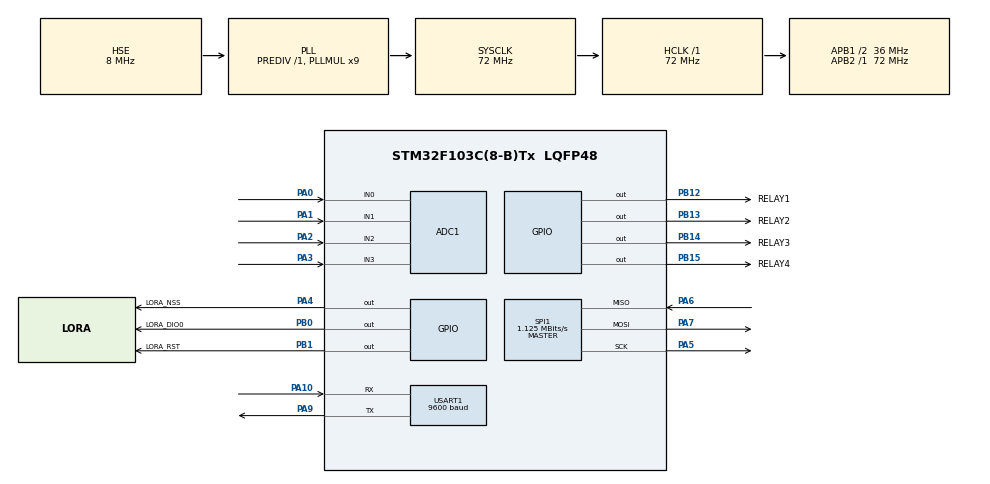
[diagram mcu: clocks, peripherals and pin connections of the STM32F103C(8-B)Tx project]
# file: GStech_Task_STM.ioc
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ADC1.Channel-0\#ChannelRegularConversion=ADC_CHANNEL_0
ADC1.NbrOfConversionFlag=1
ADC1.Rank-0\#ChannelRegularConversion=1
ADC1.SamplingTime-0\#ChannelRegularConversion=ADC_SAMPLETIME_1CYCLE_5
ADC1.master=1
Mcu.Family=STM32F1
Mcu.Name=STM32F103C(8-B)Tx
Mcu.Package=LQFP48
NVIC.PriorityGroup=NVIC_PRIORITYGROUP_4
PA0-WKUP.Signal=ADCx_IN0
PA1.Signal=ADCx_IN1
PA10.Mode=Asynchronous
PA10.Signal=USART1_RX
PA13.Mode=Serial_Wire
PA13.Signal=SYS_JTMS-SWDIO
PA14.Mode=Serial_Wire
PA14.Signal=SYS_JTCK-SWCLK
PA2.Signal=ADCx_IN2
PA3.Signal=ADCx_IN3
PA4.GPIO_Label=LORA_NSS
PA4.Signal=GPIO_Output
PA5.Mode=Full_Duplex_Master
PA5.Signal=SPI1_SCK
PA6.Mode=Full_Duplex_Master
PA6.Signal=SPI1_MISO
PA7.Mode=Full_Duplex_Master
PA7.Signal=SPI1_MOSI
PA9.Mode=Asynchronous
PA9.Signal=USART1_TX
PB0.GPIO_Label=LORA_DIO0
PB0.Signal=GPIO_Output
PB1.GPIO_Label=LORA_RST
PB1.Signal=GPIO_Output
PB12.GPIO_Label=RELAY1
PB12.Signal=GPIO_Output
PB13.GPIO_Label=RELAY2
PB13.Signal=GPIO_Output
PB14.GPIO_Label=RELAY3
PB14.Signal=GPIO_Output
PB15.GPIO_Label=RELAY4
PB15.Signal=GPIO_Output
PD0-OSC_IN.Mode=HSE-External-Oscillator
PD0-OSC_IN.Signal=RCC_OSC_IN
PD1-OSC_OUT.Mode=HSE-External-Oscillator
PD1-OSC_OUT.Signal=RCC_OSC_OUT
ProjectManager.HeapSize=0x200
ProjectManager.StackSize=0x400
ProjectManager.TargetToolchain=STM32CubeIDE
RCC.ADCPresc=RCC_ADCPCLK2_DIV6
RCC.AHBFreq_Value=72000000
RCC.APB1CLKDivider=RCC_HCLK_DIV2
RCC.APB1Freq_Value=36000000
RCC.APB1TimFreq_Value=72000000
RCC.APB2Freq_Value=72000000
RCC.APB2TimFreq_Value=72000000
RCC.HCLKFreq_Value=72000000
RCC.PLLMUL=RCC_PLL_MUL9
RCC.PLLSourceVirtual=RCC_PLLSOURCE_HSE
RCC.SYSCLKFreq_VALUE=72000000
RCC.SYSCLKSource=RCC_SYSCLKSOURCE_PLLCLK
RCC.USBFreq_Value=72000000
SH.ADCx_IN0.0=ADC1_IN0,IN0
SH.ADCx_IN1.0=ADC1_IN1,IN1
SH.ADCx_IN2.0=ADC1_IN2,IN2
SH.ADCx_IN3.0=ADC1_IN3,IN3
SPI1.BaudRatePrescaler=SPI_BAUDRATEPRESCALER_64
SPI1.CalculateBaudRate=1.125 MBits/s
SPI1.Direction=SPI_DIRECTION_2LINES
SPI1.Mode=SPI_MODE_MASTER
SPI1.VirtualType=VM_MASTER
USART1.BaudRate=9600
USART1.VirtualMode=VM_ASYNC
board=custom

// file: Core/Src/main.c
/* USER CODE BEGIN Header */
/**
  ******************************************************************************
  * @file           : main.c
  * @brief          : Main program body
  ******************************************************************************
  * @attention
  *
  * Copyright (c) 2026 STMicroelectronics.
  * All rights reserved.
  *
  * This software is licensed under terms that can be found in the LICENSE file
  * in the root directory of this software component.
  * If no LICENSE file comes with this software, it is provided AS-IS.
  *
  ******************************************************************************
  */
/* USER CODE END Header */
#include "main.h"

/* USER CODE BEGIN Includes */
#include <stdio.h>
#include <string.h>
#include <math.h>

// Import the specific library you downloaded
#include "SX1278.h"
/* USER CODE END Includes */

/* USER CODE BEGIN PTD */
// Structure to hold data for one appliance
typedef struct {
    uint32_t adcChannel;       // ADC Channel (ADC_CHANNEL_0, etc.)
    GPIO_TypeDef* relayPort;   // GPIO Port for Relay
    uint16_t relayPin;         // GPIO Pin for Relay
    double current;            // RMS Current (Amps)
    double power;              // Power (Watts)
    double totalEnergyWs;      // Total Energy (Watt-Seconds/Joules)
} Appliance_t;
/* USER CODE END PTD */

ADC_HandleTypeDef hadc1;

SPI_HandleTypeDef hspi1;

UART_HandleTypeDef huart1;

/* USER CODE BEGIN PV */
// --- Calibration & Config ---
const float calibrationFactor = 60.6; // For 33ohm burden resistor + SCT-013-100
const float supplyVoltage = 230.0;    // Fixed AC Voltage (Replace with sensor later if needed)
const int adcResolution = 4096;
const int offset = 2048;              // 1.65V DC Offset center point

// --- Runtime Variables ---
Appliance_t appliances[4];            // Array for 4 appliances
int currentTxIndex = 0;               // Tracks which appliance is sending data (0-3)
uint32_t lastTxTime = 0;              // Timer for LoRa loop
uint32_t lastEnergyTime = 0;          // Timer for Energy integration

// --- LoRa Variables ---
SX1278_hw_t loraHW;                   // Hardware struct (pins)
SX1278_t lora;                        // Logic struct (state)
char msgBuffer[100];                  // Buffer for UART logging
/* USER CODE END PV */

void SystemClock_Config(void);
static void MX_GPIO_Init(void);
static void MX_ADC1_Init(void);
static void MX_SPI1_Init(void);
static void MX_USART1_UART_Init(void);
/* USER CODE BEGIN PFP */
void Init_Appliances(void);
void ADC_Select_Channel(uint32_t channel);
double Calculate_RMS(uint32_t channel, int samples);
void Handle_LoRa_Command(char* cmd);
/* USER CODE END PFP */

/* USER CODE BEGIN 0 */

// 1. Initialize the Appliance Structs with correct Pins/Channels
void Init_Appliances(void) {
    // Appliance 1: PA0 (ADC) & PB12 (Relay)
    appliances[0].adcChannel = ADC_CHANNEL_0;
    appliances[0].relayPort = GPIOB;
    appliances[0].relayPin = GPIO_PIN_12;

    // Appliance 2: PA1 (ADC) & PB13 (Relay)
    appliances[1].adcChannel = ADC_CHANNEL_1;
    appliances[1].relayPort = GPIOB;
    appliances[1].relayPin = GPIO_PIN_13;

    // Appliance 3: PA2 (ADC) & PB14 (Relay)
    appliances[2].adcChannel = ADC_CHANNEL_2;
    appliances[2].relayPort = GPIOB;
    appliances[2].relayPin = GPIO_PIN_14;

    // Appliance 4: PA3 (ADC) & PB15 (Relay)
    appliances[3].adcChannel = ADC_CHANNEL_3;
    appliances[3].relayPort = GPIOB;
    appliances[3].relayPin = GPIO_PIN_15;
}

// 2. Helper to switch the ADC MUX
void ADC_Select_Channel(uint32_t channel) {
    ADC_ChannelConfTypeDef sConfig = {0};
    sConfig.Channel = channel;
    sConfig.Rank = ADC_REGULAR_RANK_1;
    sConfig.SamplingTime = ADC_SAMPLETIME_1CYCLE_5;
    HAL_ADC_ConfigChannel(&hadc1, &sConfig);
}

// 3. RMS Calculation Logic
double Calculate_RMS(uint32_t channel, int samples) {
    ADC_Select_Channel(channel);

    long sumSquared = 0;
    for (int i = 0; i < samples; i++) {
        HAL_ADC_Start(&hadc1);
        HAL_ADC_PollForConversion(&hadc1, 10);
        int signal = HAL_ADC_GetValue(&hadc1);

        long filtered = signal - offset;

        // Zero-Cross Noise Gate: Ignore tiny fluctuations near zero
        if (filtered > -5 && filtered < 5) filtered = 0;

        sumSquared += (filtered * filtered);

        // Short delay to spread samples over the AC wave
        // 50 loops is roughly 10-20us depending on clock
        for(int k=0; k<50; k++) __NOP();
    }

    double meanSquare = (double)sumSquared / samples;
    double rmsADC = sqrt(meanSquare);
    double rmsVolts = rmsADC * (3.3 / (float)adcResolution); // Assuming 3.3V VREF
    double amps = rmsVolts * calibrationFactor;

    // Low current cutoff (software noise floor)
    if (amps < 0.15) return 0.0;

    return amps;
}
/* USER CODE END 0 */

int main(void)
{

  /* MCU Configuration--------------------------------------------------------*/

  /* Reset of all peripherals, Initializes the Flash interface and the Systick. */
  HAL_Init();

  /* Configure the system clock */
  SystemClock_Config();

  /* Initialize all configured peripherals */
  MX_GPIO_Init();
  MX_ADC1_Init();
  MX_SPI1_Init();
  MX_USART1_UART_Init();
  /* USER CODE BEGIN 2 */

  // A. Initialize Appliance Structs
  Init_Appliances();
  lastEnergyTime = HAL_GetTick();
  lastTxTime = HAL_GetTick();

  // B. Initialize LoRa Hardware Struct (Connecting Pins to Driver)
  loraHW.dio0.port = LORA_DIO0_GPIO_Port;
  loraHW.dio0.pin = LORA_DIO0_Pin;
  loraHW.nss.port = LORA_NSS_GPIO_Port;
  loraHW.nss.pin = LORA_NSS_Pin;
  loraHW.reset.port = LORA_RST_GPIO_Port;
  loraHW.reset.pin = LORA_RST_Pin;
  loraHW.spi = &hspi1; // Link the SPI Handle

  // C. Link HW to Logic
  lora.hw = &loraHW;

  // D. Start LoRa
  // Freq: 433MHz, Power: 17dBm, SF: 7, BW: 125kHz
  SX1278_init(&lora, 433000000, SX1278_POWER_17DBM, SX1278_LORA_SF_7,
              SX1278_LORA_BW_125KHZ, SX1278_LORA_CR_4_5, SX1278_LORA_CRC_EN, 10);

  // Enter Receive Mode immediately to listen for commands
  SX1278_LoRaEntryRx(&lora, 16, 2000);

  HAL_UART_Transmit(&huart1, (uint8_t*)"System Started\r\n", 16, 100);

  /* USER CODE END 2 */

  /* Infinite loop */
  /* USER CODE BEGIN WHILE */
  while (1)
  {
    // --- TASK 1: Energy Measurement (Runs Continuously) ---
	  // --- COMBINED TASK: Measure & Transmit (Every 250ms) ---
	      // 250ms * 4 Devices = 1 Second total cycle time
	      if (HAL_GetTick() - lastTxTime >= 250) {
	          lastTxTime = HAL_GetTick();

	          // 1. Point to the specific appliance we are updating NOW
	          Appliance_t *app = &appliances[currentTxIndex];

	          // 2. Measure RMS only for this device (Saves huge amount of simulation CPU)
	          // We assume 0.25s has passed since last check for energy math
	          app->current = Calculate_RMS(app->adcChannel, 50);
	          app->power = app->current * supplyVoltage;
	          app->totalEnergyWs += (app->power * 0.25);

	          double energyKWh = app->totalEnergyWs / 3600000.0;

	          // 3. Manual Float Conversion (Fixes the "Empty Value" bug)
	          // Split Current (I)
	          int iInt = (int)app->current;
	          int iDec = (int)((app->current - iInt) * 100);

	          // Split Power (P)
	          int pInt = (int)app->power;
	          int pDec = (int)((app->power - pInt) * 10);

	          // Split Energy (E)
	          int eInt = (int)energyKWh;
	          int eDec = (int)((energyKWh - eInt) * 10000);

	          // 4. Format Packet (Using %d instead of %f)
	          char loraPacket[64];
	          sprintf(loraPacket, "ID:%d,V:%d,I:%d.%02d,P:%d.%d,E:%d.%04d",
	                  currentTxIndex + 1,
	                  (int)supplyVoltage,
	                  iInt, iDec,
	                  pInt, pDec,
	                  eInt, eDec);

	          // 5. Send Packet
	          SX1278_LoRaEntryTx(&lora, 16, 2000);
	          SX1278_LoRaTxPacket(&lora, (uint8_t*)loraPacket, strlen(loraPacket), 2000);

	          // 6. Debug Print to Serial
	          char debugBuf[100];
	          sprintf(debugBuf, "[TX] %s\r\n", loraPacket);
	          HAL_UART_Transmit(&huart1, (uint8_t*)debugBuf, strlen(debugBuf), 100);

	          // 7. Go back to RX Mode & Increment Index
	          SX1278_LoRaEntryRx(&lora, 16, 2000);
	          currentTxIndex++;
	          if(currentTxIndex > 3) currentTxIndex = 0;
	      }

    // --- TASK 3: LoRa Reception (Poll DIO0) ---
    // If DIO0 is High, a packet has arrived
    if (HAL_GPIO_ReadPin(LORA_DIO0_GPIO_Port, LORA_DIO0_Pin) == GPIO_PIN_SET) {
        int len = SX1278_LoRaRxPacket(&lora);
        if (len > 0) {

        	char *rxData = (char*)lora.rxBuffer;
			rxData[len] = 0; // Ensure Null termination for string safety

			// Print Received Command
			char debugBuf[300];
			sprintf(debugBuf, "[RX CMD] %s\r\n", rxData);
			HAL_UART_Transmit(&huart1, (uint8_t*)debugBuf, strlen(debugBuf), 100);

			// Process Command
			Handle_LoRa_Command(rxData);
        }
    }
    /* USER CODE END WHILE */

  }
}

// --- LoRa Command Parser ---
// Expects: "R1:0" (Relay 1 OFF), "R2:1" (Relay 2 ON)
void Handle_LoRa_Command(char* cmd) {
    int relayID, state;
    // Scan string for pattern "R<number>:<number>"
    if (sscanf(cmd, "R%d:%d", &relayID, &state) == 2) {
        if (relayID >= 1 && relayID <= 4) {
            Appliance_t *target = &appliances[relayID - 1];

            // Logic: 1 = ON (Reset Pin), 0 = OFF (Set Pin)
            // Assuming Active LOW Relay Module. Reverse if Active HIGH.
            if (state == 1) {
                HAL_GPIO_WritePin(target->relayPort, target->relayPin, GPIO_PIN_RESET);
            } else {
                HAL_GPIO_WritePin(target->relayPort, target->relayPin, GPIO_PIN_SET);
            }
        }
    }
}

void SystemClock_Config(void)
{
  RCC_OscInitTypeDef RCC_OscInitStruct = {0};
  RCC_ClkInitTypeDef RCC_ClkInitStruct = {0};
  RCC_PeriphCLKInitTypeDef PeriphClkInit = {0};

  /** Initializes the RCC Oscillators according to the specified parameters
  * in the RCC_OscInitTypeDef structure.
  */
  RCC_OscInitStruct.OscillatorType = RCC_OSCILLATORTYPE_HSE;
  RCC_OscInitStruct.HSEState = RCC_HSE_ON;
  RCC_OscInitStruct.HSEPredivValue = RCC_HSE_PREDIV_DIV1;
  RCC_OscInitStruct.HSIState = RCC_HSI_ON;
  RCC_OscInitStruct.PLL.PLLState = RCC_PLL_ON;
  RCC_OscInitStruct.PLL.PLLSource = RCC_PLLSOURCE_HSE;
  RCC_OscInitStruct.PLL.PLLMUL = RCC_PLL_MUL9;
  if (HAL_RCC_OscConfig(&RCC_OscInitStruct) != HAL_OK)
  {
    Error_Handler();
  }

  /** Initializes the CPU, AHB and APB buses clocks
  */
  RCC_ClkInitStruct.ClockType = RCC_CLOCKTYPE_HCLK|RCC_CLOCKTYPE_SYSCLK
                              |RCC_CLOCKTYPE_PCLK1|RCC_CLOCKTYPE_PCLK2;
  RCC_ClkInitStruct.SYSCLKSource = RCC_SYSCLKSOURCE_PLLCLK;
  RCC_ClkInitStruct.AHBCLKDivider = RCC_SYSCLK_DIV1;
  RCC_ClkInitStruct.APB1CLKDivider = RCC_HCLK_DIV2;
  RCC_ClkInitStruct.APB2CLKDivider = RCC_HCLK_DIV1;

  if (HAL_RCC_ClockConfig(&RCC_ClkInitStruct, FLASH_LATENCY_2) != HAL_OK)
  {
    Error_Handler();
  }
  PeriphClkInit.PeriphClockSelection = RCC_PERIPHCLK_ADC;
  PeriphClkInit.AdcClockSelection = RCC_ADCPCLK2_DIV6;
  if (HAL_RCCEx_PeriphCLKConfig(&PeriphClkInit) != HAL_OK)
  {
    Error_Handler();
  }
}

static void MX_ADC1_Init(void)
{

  ADC_ChannelConfTypeDef sConfig = {0};

  /** Common config
  */
  hadc1.Instance = ADC1;
  hadc1.Init.ScanConvMode = ADC_SCAN_DISABLE;
  hadc1.Init.ContinuousConvMode = DISABLE;
  hadc1.Init.DiscontinuousConvMode = DISABLE;
  hadc1.Init.ExternalTrigConv = ADC_SOFTWARE_START;
  hadc1.Init.DataAlign = ADC_DATAALIGN_RIGHT;
  hadc1.Init.NbrOfConversion = 1;
  if (HAL_ADC_Init(&hadc1) != HAL_OK)
  {
    Error_Handler();
  }

  /** Configure Regular Channel
  */
  sConfig.Channel = ADC_CHANNEL_0;
  sConfig.Rank = ADC_REGULAR_RANK_1;
  sConfig.SamplingTime = ADC_SAMPLETIME_1CYCLE_5;
  if (HAL_ADC_ConfigChannel(&hadc1, &sConfig) != HAL_OK)
  {
    Error_Handler();
  }

}

static void MX_SPI1_Init(void)
{

  /* SPI1 parameter configuration*/
  hspi1.Instance = SPI1;
  hspi1.Init.Mode = SPI_MODE_MASTER;
  hspi1.Init.Direction = SPI_DIRECTION_2LINES;
  hspi1.Init.DataSize = SPI_DATASIZE_8BIT;
  hspi1.Init.CLKPolarity = SPI_POLARITY_LOW;
  hspi1.Init.CLKPhase = SPI_PHASE_1EDGE;
  hspi1.Init.NSS = SPI_NSS_SOFT;
  hspi1.Init.BaudRatePrescaler = SPI_BAUDRATEPRESCALER_64;
  hspi1.Init.FirstBit = SPI_FIRSTBIT_MSB;
  hspi1.Init.TIMode = SPI_TIMODE_DISABLE;
  hspi1.Init.CRCCalculation = SPI_CRCCALCULATION_DISABLE;
  hspi1.Init.CRCPolynomial = 10;
  if (HAL_SPI_Init(&hspi1) != HAL_OK)
  {
    Error_Handler();
  }

}

static void MX_USART1_UART_Init(void)
{

  huart1.Instance = USART1;
  huart1.Init.BaudRate = 9600;
  huart1.Init.WordLength = UART_WORDLENGTH_8B;
  huart1.Init.StopBits = UART_STOPBITS_1;
  huart1.Init.Parity = UART_PARITY_NONE;
  huart1.Init.Mode = UART_MODE_TX_RX;
  huart1.Init.HwFlowCtl = UART_HWCONTROL_NONE;
  huart1.Init.OverSampling = UART_OVERSAMPLING_16;
  if (HAL_UART_Init(&huart1) != HAL_OK)
  {
    Error_Handler();
  }

}

static void MX_GPIO_Init(void)
{
  GPIO_InitTypeDef GPIO_InitStruct = {0};

  /* GPIO Ports Clock Enable */
  __HAL_RCC_GPIOD_CLK_ENABLE();
  __HAL_RCC_GPIOA_CLK_ENABLE();
  __HAL_RCC_GPIOB_CLK_ENABLE();

  /*Configure GPIO pin Output Level */
  HAL_GPIO_WritePin(GPIOA, LORA_NSS_Pin, GPIO_PIN_SET); // Set CS High (Inactive)

  /*Configure GPIO pin Output Level */
  HAL_GPIO_WritePin(GPIOB, LORA_RST_Pin|RELAY1_Pin|RELAY2_Pin|RELAY3_Pin
                          |RELAY4_Pin, GPIO_PIN_RESET);

  /*Configure GPIO pin : LORA_NSS_Pin */
  GPIO_InitStruct.Pin = LORA_NSS_Pin;
  GPIO_InitStruct.Mode = GPIO_MODE_OUTPUT_PP;
  GPIO_InitStruct.Pull = GPIO_NOPULL;
  GPIO_InitStruct.Speed = GPIO_SPEED_FREQ_LOW;
  HAL_GPIO_Init(LORA_NSS_GPIO_Port, &GPIO_InitStruct);

  /*Configure GPIO pin : LORA_DIO0_Pin */
  GPIO_InitStruct.Pin = LORA_DIO0_Pin;
  GPIO_InitStruct.Mode = GPIO_MODE_INPUT;
  GPIO_InitStruct.Pull = GPIO_NOPULL;
  HAL_GPIO_Init(LORA_DIO0_GPIO_Port, &GPIO_InitStruct);

  /*Configure GPIO pins : LORA_RST_Pin RELAY1_Pin RELAY2_Pin RELAY3_Pin RELAY4_Pin */
  GPIO_InitStruct.Pin = LORA_RST_Pin|RELAY1_Pin|RELAY2_Pin|RELAY3_Pin
                          |RELAY4_Pin;
  GPIO_InitStruct.Mode = GPIO_MODE_OUTPUT_PP;
  GPIO_InitStruct.Pull = GPIO_NOPULL;
  GPIO_InitStruct.Speed = GPIO_SPEED_FREQ_LOW;
  HAL_GPIO_Init(GPIOB, &GPIO_InitStruct);

}

/* USER CODE BEGIN 4 */
// UART GPIO INIT (Needed for Wokwi sometimes if it drops it)
//void HAL_UART_MspInit(UART_HandleTypeDef* huart)
//{
//  GPIO_InitTypeDef GPIO_InitStruct = {0};
//  if(huart->Instance==USART1)
//  {
//    __HAL_RCC_USART1_CLK_ENABLE();
//    __HAL_RCC_GPIOA_CLK_ENABLE();
//    // PA9 -> TX
//    GPIO_InitStruct.Pin = GPIO_PIN_9;
//    GPIO_InitStruct.Mode = GPIO_MODE_AF_PP;
//    GPIO_InitStruct.Speed = GPIO_SPEED_FREQ_HIGH;
//    HAL_GPIO_Init(GPIOA, &GPIO_InitStruct);
//    // PA10 -> RX
//    GPIO_InitStruct.Pin = GPIO_PIN_10;
//    GPIO_InitStruct.Mode = GPIO_MODE_INPUT;
//    GPIO_InitStruct.Pull = GPIO_NOPULL;
//    HAL_GPIO_Init(GPIOA, &GPIO_InitStruct);
//  }
//}
/* USER CODE END 4 */

void Error_Handler(void)
{
  __disable_irq();
  while (1)
  {
  }
}
